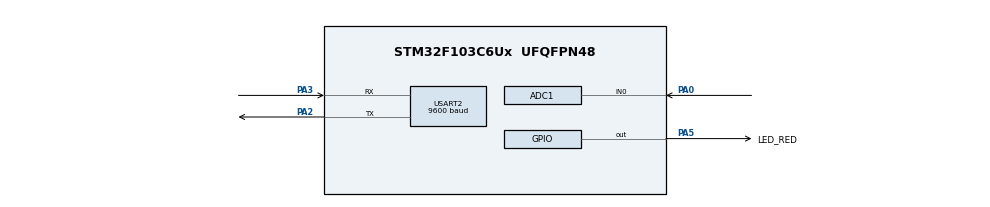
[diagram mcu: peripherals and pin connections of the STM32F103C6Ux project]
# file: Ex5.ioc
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ADC1.Channel-0\#ChannelRegularConversion=ADC_CHANNEL_0
ADC1.ContinuousConvMode=ENABLE
ADC1.NbrOfConversionFlag=1
ADC1.Rank-0\#ChannelRegularConversion=1
ADC1.SamplingTime-0\#ChannelRegularConversion=ADC_SAMPLETIME_1CYCLE_5
ADC1.master=1
Mcu.Family=STM32F1
Mcu.Name=STM32F103C6Ux
Mcu.Package=UFQFPN48
NVIC.PriorityGroup=NVIC_PRIORITYGROUP_4
NVIC.TIM2_IRQn=true\:0\:0\:false\:false\:true\:true\:true
NVIC.USART2_IRQn=true\:0\:0\:false\:false\:true\:true\:true
PA0-WKUP.Signal=ADCx_IN0
PA13.Mode=Serial_Wire
PA13.Signal=SYS_JTMS-SWDIO
PA14.Mode=Serial_Wire
PA14.Signal=SYS_JTCK-SWCLK
PA2.Mode=Asynchronous
PA2.Signal=USART2_TX
PA3.Mode=Asynchronous
PA3.Signal=USART2_RX
PA5.GPIO_Label=LED_RED
PA5.Signal=GPIO_Output
ProjectManager.HeapSize=0x200
ProjectManager.StackSize=0x400
ProjectManager.TargetToolchain=STM32CubeIDE
RCC.APB1Freq_Value=8000000
RCC.APB2Freq_Value=8000000
SH.ADCx_IN0.0=ADC1_IN0,IN0
TIM2.Period=9
TIM2.Prescaler=7999
USART2.BaudRate=9600
USART2.VirtualMode=VM_ASYNC
VP_TIM2_VS_ClockSourceINT.Mode=Internal
board=custom

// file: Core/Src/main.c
/* USER CODE BEGIN Header */
/**
 ******************************************************************************
 * @file           : main.c
 * @brief          : Main program body
 ******************************************************************************
 * @attention
 *
 * <h2><center>&copy; Copyright (c) 2022 STMicroelectronics.
 * All rights reserved.</center></h2>
 *
 * This software component is licensed by ST under BSD 3-Clause license,
 * the "License"; You may not use this file except in compliance with the
 * License. You may obtain a copy of the License at:
 *                        opensource.org/licenses/BSD-3-Clause
 *
 ******************************************************************************
 */
/* USER CODE END Header */
#include "main.h"

/* USER CODE BEGIN Includes */
#include "stdio.h"
#include "string.h"
#include "software_timer.h"
/* USER CODE END Includes */

ADC_HandleTypeDef hadc1;

TIM_HandleTypeDef htim2;

UART_HandleTypeDef huart2;

void SystemClock_Config(void);
static void MX_GPIO_Init(void);
static void MX_ADC1_Init(void);
static void MX_USART2_UART_Init(void);
static void MX_TIM2_Init(void);

/* USER CODE BEGIN 0 */
#define MAX_BUFFER_SIZE  30
uint8_t temp = 0;
uint8_t buffer[MAX_BUFFER_SIZE];
uint8_t index_buffer = 0;
uint8_t buffer_flag = 0;
#define INIT 0
#define BEGIN 1
#define R 2
#define S 3
#define T 4
#define O 9
#define K 6

#define RST 7
#define OK 8

int flag = OK;
uint32_t ADC_value = 0;
char str[40];
int state = INIT;

void HAL_UART_RxCpltCallback(UART_HandleTypeDef *huart) {
	if (huart->Instance == USART2) {
		buffer[index_buffer++] = temp;
		if (index_buffer == 30)
			index_buffer = 0;

		buffer_flag = 1;
		HAL_UART_Receive_IT(&huart2, &temp, 1);
	}
}

void command_parser_fsm() {
	switch (state) {
	case INIT:
		if (temp == '!') {
			state = BEGIN;
		}
		break;
	case BEGIN:
		if (temp == 'R') {
			state = R;
		} else if (temp == 'O') {
			state = O;
		} else {
			state = INIT;
		}
		break;
	case R:
		if (temp == 'S') {
			state = S;
		} else {
			state = INIT;
		}
		break;
	case S:
		if (temp == 'T') {
			state = T;
		} else {
			state = INIT;
		}
		break;
	case T:
		if (temp == '#') {
			flag = RST;
			setTimer2(3000);
			state = INIT;
		} else {
			state = INIT;
		}
		break;
	case O:
		if (temp == 'K') {
			state = K;
		} else {
			state = INIT;
		}
		break;
	case K:
		if (temp == '#') {
			flag = OK;
			state = INIT;
		} else {
			state = INIT;
		}
		break;
	default:
		break;
	}
}

void uart_communiation_fsm() {
	switch (flag) {
	case OK:
		flag = OK;
		break;
	case RST:
		ADC_value = HAL_ADC_GetValue(&hadc1);

		HAL_UART_Transmit(&huart2, (void*) str,
				sprintf(str, "\r!ADC=%ld#", ADC_value), 1000);
		if (timer2_flag) {
			flag = OK;
		}
	default:
		break;
	}
}
/* USER CODE END 0 */

int main(void) {

	/* MCU Configuration--------------------------------------------------------*/

	/* Reset of all peripherals, Initializes the Flash interface and the Systick. */
	HAL_Init();

	/* Configure the system clock */
	SystemClock_Config();

	/* Initialize all configured peripherals */
	MX_GPIO_Init();
	MX_ADC1_Init();
	MX_USART2_UART_Init();
	MX_TIM2_Init();
	/* USER CODE BEGIN 2 */
	HAL_ADC_Start(&hadc1);
	HAL_TIM_Base_Start_IT(&htim2);
	/* USER CODE END 2 */

	/* Infinite loop */
	/* USER CODE BEGIN WHILE */
	HAL_UART_Receive_IT(&huart2, &temp, 1);
	setTimer1(1000);
	setTimer2(3000);
	while (1) {
		if (buffer_flag == 1) {
			command_parser_fsm();
			buffer_flag = 0;
		}
		if (timer1_flag) {
			uart_communiation_fsm();
			HAL_GPIO_TogglePin(GPIOA, GPIO_PIN_5);
			setTimer1(1000);
		}
		/* USER CODE END WHILE */

	}
}

void SystemClock_Config(void) {
	RCC_OscInitTypeDef RCC_OscInitStruct = { 0 };
	RCC_ClkInitTypeDef RCC_ClkInitStruct = { 0 };
	RCC_PeriphCLKInitTypeDef PeriphClkInit = { 0 };

	/** Initializes the RCC Oscillators according to the specified parameters
	 * in the RCC_OscInitTypeDef structure.
	 */
	RCC_OscInitStruct.OscillatorType = RCC_OSCILLATORTYPE_HSI;
	RCC_OscInitStruct.HSIState = RCC_HSI_ON;
	RCC_OscInitStruct.HSICalibrationValue = RCC_HSICALIBRATION_DEFAULT;
	RCC_OscInitStruct.PLL.PLLState = RCC_PLL_NONE;
	if (HAL_RCC_OscConfig(&RCC_OscInitStruct) != HAL_OK) {
		Error_Handler();
	}
	/** Initializes the CPU, AHB and APB buses clocks
	 */
	RCC_ClkInitStruct.ClockType = RCC_CLOCKTYPE_HCLK | RCC_CLOCKTYPE_SYSCLK
			| RCC_CLOCKTYPE_PCLK1 | RCC_CLOCKTYPE_PCLK2;
	RCC_ClkInitStruct.SYSCLKSource = RCC_SYSCLKSOURCE_HSI;
	RCC_ClkInitStruct.AHBCLKDivider = RCC_SYSCLK_DIV1;
	RCC_ClkInitStruct.APB1CLKDivider = RCC_HCLK_DIV1;
	RCC_ClkInitStruct.APB2CLKDivider = RCC_HCLK_DIV1;

	if (HAL_RCC_ClockConfig(&RCC_ClkInitStruct, FLASH_LATENCY_0) != HAL_OK) {
		Error_Handler();
	}
	PeriphClkInit.PeriphClockSelection = RCC_PERIPHCLK_ADC;
	PeriphClkInit.AdcClockSelection = RCC_ADCPCLK2_DIV2;
	if (HAL_RCCEx_PeriphCLKConfig(&PeriphClkInit) != HAL_OK) {
		Error_Handler();
	}
}

static void MX_ADC1_Init(void) {

	ADC_ChannelConfTypeDef sConfig = { 0 };

	/** Common config
	 */
	hadc1.Instance = ADC1;
	hadc1.Init.ScanConvMode = ADC_SCAN_DISABLE;
	hadc1.Init.ContinuousConvMode = ENABLE;
	hadc1.Init.DiscontinuousConvMode = DISABLE;
	hadc1.Init.ExternalTrigConv = ADC_SOFTWARE_START;
	hadc1.Init.DataAlign = ADC_DATAALIGN_RIGHT;
	hadc1.Init.NbrOfConversion = 1;
	if (HAL_ADC_Init(&hadc1) != HAL_OK) {
		Error_Handler();
	}
	/** Configure Regular Channel
	 */
	sConfig.Channel = ADC_CHANNEL_0;
	sConfig.Rank = ADC_REGULAR_RANK_1;
	sConfig.SamplingTime = ADC_SAMPLETIME_1CYCLE_5;
	if (HAL_ADC_ConfigChannel(&hadc1, &sConfig) != HAL_OK) {
		Error_Handler();
	}

}

static void MX_TIM2_Init(void) {

	TIM_ClockConfigTypeDef sClockSourceConfig = { 0 };
	TIM_MasterConfigTypeDef sMasterConfig = { 0 };

	htim2.Instance = TIM2;
	htim2.Init.Prescaler = 7999;
	htim2.Init.CounterMode = TIM_COUNTERMODE_UP;
	htim2.Init.Period = 9;
	htim2.Init.ClockDivision = TIM_CLOCKDIVISION_DIV1;
	htim2.Init.AutoReloadPreload = TIM_AUTORELOAD_PRELOAD_DISABLE;
	if (HAL_TIM_Base_Init(&htim2) != HAL_OK) {
		Error_Handler();
	}
	sClockSourceConfig.ClockSource = TIM_CLOCKSOURCE_INTERNAL;
	if (HAL_TIM_ConfigClockSource(&htim2, &sClockSourceConfig) != HAL_OK) {
		Error_Handler();
	}
	sMasterConfig.MasterOutputTrigger = TIM_TRGO_RESET;
	sMasterConfig.MasterSlaveMode = TIM_MASTERSLAVEMODE_DISABLE;
	if (HAL_TIMEx_MasterConfigSynchronization(&htim2, &sMasterConfig)
			!= HAL_OK) {
		Error_Handler();
	}

}

static void MX_USART2_UART_Init(void) {

	huart2.Instance = USART2;
	huart2.Init.BaudRate = 9600;
	huart2.Init.WordLength = UART_WORDLENGTH_8B;
	huart2.Init.StopBits = UART_STOPBITS_1;
	huart2.Init.Parity = UART_PARITY_NONE;
	huart2.Init.Mode = UART_MODE_TX_RX;
	huart2.Init.HwFlowCtl = UART_HWCONTROL_NONE;
	huart2.Init.OverSampling = UART_OVERSAMPLING_16;
	if (HAL_UART_Init(&huart2) != HAL_OK) {
		Error_Handler();
	}

}

static void MX_GPIO_Init(void) {
	GPIO_InitTypeDef GPIO_InitStruct = { 0 };

	/* GPIO Ports Clock Enable */
	__HAL_RCC_GPIOA_CLK_ENABLE();

	/*Configure GPIO pin Output Level */
	HAL_GPIO_WritePin(LED_RED_GPIO_Port, LED_RED_Pin, GPIO_PIN_RESET);

	/*Configure GPIO pin : LED_RED_Pin */
	GPIO_InitStruct.Pin = LED_RED_Pin;
	GPIO_InitStruct.Mode = GPIO_MODE_OUTPUT_PP;
	GPIO_InitStruct.Pull = GPIO_NOPULL;
	GPIO_InitStruct.Speed = GPIO_SPEED_FREQ_LOW;
	HAL_GPIO_Init(LED_RED_GPIO_Port, &GPIO_InitStruct);

}

/* USER CODE BEGIN 4 */
void HAL_TIM_PeriodElapsedCallback(TIM_HandleTypeDef *htim) {
	timerRun();
}
/* USER CODE END 4 */

void Error_Handler(void) {
	__disable_irq();
	while (1) {
	}
}

/************************ (C) COPYRIGHT STMicroelectronics *****END OF FILE****/
